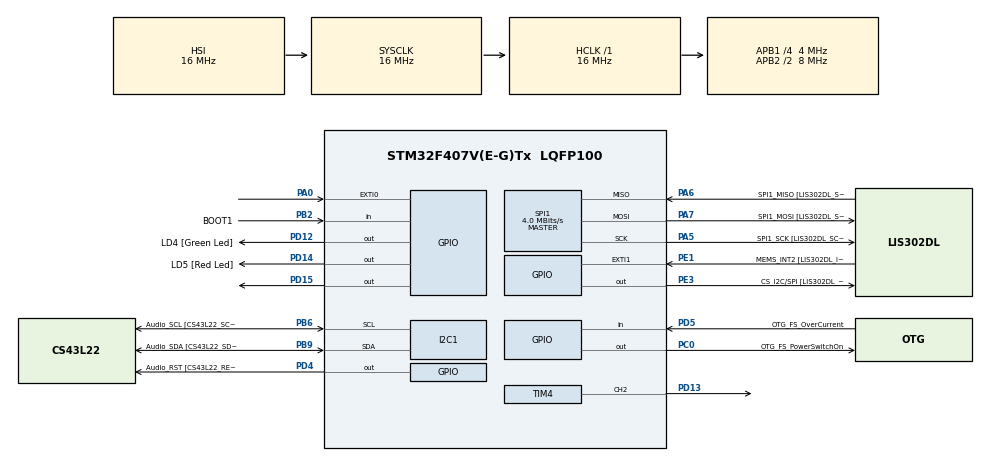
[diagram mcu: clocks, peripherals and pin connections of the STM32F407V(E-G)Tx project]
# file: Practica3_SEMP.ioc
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FREERTOS.Tasks01=defaultTask,29,128,StartDefaultTask,Default,NULL,Dynamic,NULL,NULL
Mcu.Family=STM32F4
Mcu.Name=STM32F407V(E-G)Tx
Mcu.Package=LQFP100
NVIC.EXTI0_IRQn=true\:5\:0\:false\:false\:true\:true\:true\:true\:true
NVIC.PriorityGroup=NVIC_PRIORITYGROUP_4
NVIC.TIM1_BRK_TIM9_IRQn=true\:5\:0\:false\:false\:true\:true\:true\:true\:true
NVIC.TIM1_UP_TIM10_IRQn=true\:15\:0\:false\:false\:true\:false\:false\:true\:true
NVIC.TIM6_DAC_IRQn=true\:5\:0\:false\:false\:true\:true\:true\:true\:true
NVIC.TIM7_IRQn=true\:5\:0\:false\:false\:true\:true\:true\:true\:true
NVIC.TimeBase=TIM1_UP_TIM10_IRQn
NVIC.TimeBaseIP=TIM1
PA0-WKUP.Signal=GPXTI0
PA10.GPIO_Label=OTG_FS_ID
PA10.GPIO_Mode=GPIO_MODE_AF_PP
PA10.GPIO_PuPd=GPIO_NOPULL
PA10.GPIO_Speed=GPIO_SPEED_FREQ_LOW
PA10.Signal=USB_OTG_FS_ID
PA11.GPIO_Label=OTG_FS_DM
PA11.GPIO_Mode=GPIO_MODE_AF_PP
PA11.GPIO_PuPd=GPIO_NOPULL
PA11.GPIO_Speed=GPIO_SPEED_FREQ_LOW
PA11.Signal=USB_OTG_FS_DM
PA12.GPIO_Label=OTG_FS_DP
PA12.GPIO_Mode=GPIO_MODE_AF_PP
PA12.GPIO_PuPd=GPIO_NOPULL
PA12.GPIO_Speed=GPIO_SPEED_FREQ_LOW
PA12.Signal=USB_OTG_FS_DP
PA13.GPIO_Label=SWDIO
PA13.Signal=SYS_JTMS-SWDIO
PA14.GPIO_Label=SWCLK
PA14.Signal=SYS_JTCK-SWCLK
PA4.GPIO_Label=I2S3_WS [CS43L22_LRCK]
PA4.GPIO_Mode=GPIO_MODE_AF_PP
PA4.GPIO_PuPd=GPIO_NOPULL
PA4.GPIO_Speed=GPIO_SPEED_FREQ_LOW
PA4.Signal=I2S3_WS
PA5.GPIO_Label=SPI1_SCK [LIS302DL_SCL/SPC]
PA5.GPIO_Mode=GPIO_MODE_AF_PP
PA5.GPIO_PuPd=GPIO_NOPULL
PA5.GPIO_Speed=GPIO_SPEED_FREQ_LOW
PA5.Mode=Full_Duplex_Master
PA5.Signal=SPI1_SCK
PA6.GPIO_Label=SPI1_MISO [LIS302DL_SDO]
PA6.GPIO_Mode=GPIO_MODE_AF_PP
PA6.GPIO_PuPd=GPIO_NOPULL
PA6.GPIO_Speed=GPIO_SPEED_FREQ_LOW
PA6.Mode=Full_Duplex_Master
PA6.Signal=SPI1_MISO
PA7.GPIO_Label=SPI1_MOSI [LIS302DL_SDA/SDI/SDO]
PA7.GPIO_Mode=GPIO_MODE_AF_PP
PA7.GPIO_PuPd=GPIO_NOPULL
PA7.GPIO_Speed=GPIO_SPEED_FREQ_LOW
PA7.Mode=Full_Duplex_Master
PA7.Signal=SPI1_MOSI
PA9.GPIO_Label=VBUS_FS
PA9.GPIO_Mode=GPIO_MODE_INPUT
PA9.GPIO_PuPd=GPIO_NOPULL
PA9.Signal=USB_OTG_FS_VBUS
PB10.GPIO_Label=CLK_IN [MP45DT02_CLK]
PB10.GPIO_Mode=GPIO_MODE_AF_PP
PB10.GPIO_PuPd=GPIO_NOPULL
PB10.GPIO_Speed=GPIO_SPEED_FREQ_LOW
PB10.Signal=I2S2_CK
PB2.GPIO_Label=BOOT1
PB2.GPIO_Mode=GPIO_MODE_INPUT
PB2.GPIO_PuPd=GPIO_NOPULL
PB2.Signal=GPIO_Input
PB3.GPIO_Label=SWO
PB3.Signal=SYS_JTDO-SWO
PB6.GPIO_Label=Audio_SCL [CS43L22_SCL]
PB6.GPIO_Mode=GPIO_MODE_AF_OD
PB6.GPIO_PuPd=GPIO_NOPULL
PB6.GPIO_Speed=GPIO_SPEED_FREQ_LOW
PB6.Mode=I2C
PB6.Signal=I2C1_SCL
PB9.GPIO_Label=Audio_SDA [CS43L22_SDA]
PB9.GPIO_Mode=GPIO_MODE_AF_OD
PB9.GPIO_PuPd=GPIO_NOPULL
PB9.GPIO_Speed=GPIO_SPEED_FREQ_LOW
PB9.Mode=I2C
PB9.Signal=I2C1_SDA
PC0.GPIO_Label=OTG_FS_PowerSwitchOn
PC0.GPIO_PuPd=GPIO_NOPULL
PC0.GPIO_Speed=GPIO_SPEED_FREQ_LOW
PC0.PinState=GPIO_PIN_SET
PC0.Signal=GPIO_Output
PC10.GPIO_Label=I2S3_SCK [CS43L22_SCLK]
PC10.GPIO_Mode=GPIO_MODE_AF_PP
PC10.GPIO_PuPd=GPIO_NOPULL
PC10.GPIO_Speed=GPIO_SPEED_FREQ_LOW
PC10.Signal=I2S3_CK
PC12.GPIO_Label=I2S3_SD [CS43L22_SDIN]
PC12.GPIO_Mode=GPIO_MODE_AF_PP
PC12.GPIO_PuPd=GPIO_NOPULL
PC12.GPIO_Speed=GPIO_SPEED_FREQ_LOW
PC12.Signal=I2S3_SD
PC14-OSC32_IN.GPIO_Label=PC14-OSC32_IN
PC14-OSC32_IN.Signal=RCC_OSC32_IN
PC15-OSC32_OUT.GPIO_Label=PC15-OSC32_OUT
PC15-OSC32_OUT.Signal=RCC_OSC32_OUT
PC3.GPIO_Label=PDM_OUT [MP45DT02_DOUT]
PC3.GPIO_Mode=GPIO_MODE_AF_PP
PC3.GPIO_PuPd=GPIO_NOPULL
PC3.GPIO_Speed=GPIO_SPEED_FREQ_LOW
PC3.Signal=I2S2_SD
PC7.GPIO_Label=I2S3_MCK [CS43L22_MCLK]
PC7.GPIO_Mode=GPIO_MODE_AF_PP
PC7.GPIO_PuPd=GPIO_NOPULL
PC7.GPIO_Speed=GPIO_SPEED_FREQ_LOW
PC7.Signal=I2S3_MCK
PD12.GPIO_Label=LD4 [Green Led]
PD12.GPIO_PuPd=GPIO_NOPULL
PD12.GPIO_Speed=GPIO_SPEED_FREQ_LOW
PD12.Signal=GPIO_Output
PD13.Signal=S_TIM4_CH2
PD14.GPIO_Label=LD5 [Red Led]
PD14.GPIO_PuPd=GPIO_NOPULL
PD14.GPIO_Speed=GPIO_SPEED_FREQ_LOW
PD14.Signal=GPIO_Output
PD15.Signal=GPIO_Output
PD4.GPIO_Label=Audio_RST [CS43L22_RESET]
PD4.GPIO_PuPd=GPIO_NOPULL
PD4.GPIO_Speed=GPIO_SPEED_FREQ_LOW
PD4.Signal=GPIO_Output
PD5.GPIO_Label=OTG_FS_OverCurrent
PD5.GPIO_Mode=GPIO_MODE_INPUT
PD5.GPIO_PuPd=GPIO_NOPULL
PD5.Signal=GPIO_Input
PE1.GPIO_Label=MEMS_INT2 [LIS302DL_INT2]
PE1.GPIO_ModeDefaultEXTI=GPIO_MODE_EVT_RISING
PE1.GPIO_PuPd=GPIO_NOPULL
PE1.Signal=GPXTI1
PE3.GPIO_Label=CS_I2C/SPI [LIS302DL_CS_I2C/SPI]
PE3.GPIO_PuPd=GPIO_NOPULL
PE3.GPIO_Speed=GPIO_SPEED_FREQ_LOW
PE3.Signal=GPIO_Output
PH0-OSC_IN.GPIO_Label=PH0-OSC_IN
PH0-OSC_IN.Signal=RCC_OSC_IN
PH1-OSC_OUT.GPIO_Label=PH1-OSC_OUT
PH1-OSC_OUT.Signal=RCC_OSC_OUT
ProjectManager.HeapSize=0x200
ProjectManager.StackSize=0x400
ProjectManager.TargetToolchain=STM32CubeIDE
RCC.48MHZClocksFreq_Value=24000000
RCC.AHBFreq_Value=16000000
RCC.APB1CLKDivider=RCC_HCLK_DIV4
RCC.APB1Freq_Value=4000000
RCC.APB1TimFreq_Value=8000000
RCC.APB2CLKDivider=RCC_HCLK_DIV2
RCC.APB2Freq_Value=8000000
RCC.APB2TimFreq_Value=16000000
RCC.CortexFreq_Value=16000000
RCC.HCLKFreq_Value=16000000
RCC.HSE_VALUE=8000000
RCC.HSI_VALUE=16000000
RCC.LSE_VALUE=32768
RCC.PLLM=8
RCC.PLLN=84
RCC.PLLQ=7
RCC.SYSCLKFreq_VALUE=16000000
RCC.VCOOutputFreq_Value=168000000
SH.S_TIM4_CH2.0=TIM4_CH2,PWM Generation2 CH2
SPI1.CalculateBaudRate=4.0 MBits/s
SPI1.Direction=SPI_DIRECTION_2LINES
SPI1.Mode=SPI_MODE_MASTER
SPI1.VirtualType=VM_MASTER
TIM4.Channel-PWM\ Generation2\ CH2=TIM_CHANNEL_2
TIM4.Period=49
TIM4.Prescaler=1
TIM6.Period=999
TIM6.Prescaler=7999
TIM7.Period=4
TIM7.Prescaler=7999
TIM9.Period=499
TIM9.Prescaler=7999
VP_FREERTOS_VS_CMSIS_V2.Mode=CMSIS_V2
VP_SYS_VS_tim1.Mode=TIM1
VP_TIM4_VS_ClockSourceINT.Mode=Internal
VP_TIM6_VS_ClockSourceINT.Mode=Enable_Timer
VP_TIM7_VS_ClockSourceINT.Mode=Enable_Timer
VP_TIM9_VS_ClockSourceINT.Mode=Internal
board=STM32F407G-DISC1

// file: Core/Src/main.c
/* USER CODE BEGIN Header */
/**
  ******************************************************************************
  * @file           : main.c
  * @brief          : Main program body
  ******************************************************************************
  * @attention
  *
  * Copyright (c) 2022 STMicroelectronics.
  * All rights reserved.
  *
  * This software is licensed under terms that can be found in the LICENSE file
  * in the root directory of this software component.
  * If no LICENSE file comes with this software, it is provided AS-IS.
  *
  ******************************************************************************
  */
/* USER CODE END Header */
#include "main.h"
#include "cmsis_os.h"

/* USER CODE BEGIN Includes */
#include "task_fsm.h"
/* USER CODE END Includes */

I2C_HandleTypeDef hi2c1;

SPI_HandleTypeDef hspi1;

TIM_HandleTypeDef htim4;
TIM_HandleTypeDef htim6;
TIM_HandleTypeDef htim7;
TIM_HandleTypeDef htim9;

/* Definitions for defaultTask */
osThreadId_t defaultTaskHandle;
const osThreadAttr_t defaultTask_attributes = {
  .name = "defaultTask",
  .stack_size = 128 * 4,
  .priority = (osPriority_t) osPriorityNormal5,
};
/* USER CODE BEGIN PV */
uint8_t activado, flag_timer_led, flag_timer_boton, flag_timer_muestreo;
uint32_t ciclos_default=0;

task_fsm_boton_encendido_t task_boton ={
		.task_attributes ={
				.name = "task boton",
				.stack_size = 128*4,
				.priority = (osPriority_t)osPriorityNormal3,
		},
		.timer_boton = &htim9,
		.delay = 1,
		.f=NULL,
		.port = GPIOA,
		.pin = GPIO_PIN_0,
		.activado = &activado,
		.flag_timer_boton = &flag_timer_boton
};

task_fsm_muestreo_t task_muestreo ={
		.task_attributes ={
				.name = "task muestreo",
				.stack_size = 128*4,
				.priority = (osPriority_t)osPriorityNormal4,
		},
		.timer_muestreo = &htim7,
		.delay = 1,
		.f=NULL,
		.activado = &activado,
		.flag_timer_muestreo = &flag_timer_muestreo
};

task_fsm_procesamiento_t task_procesamiento ={
		.task_attributes ={
				.name = "task procesamiento",
				.stack_size = 128*4,
				.priority = (osPriority_t)osPriorityNormal1,
		},
		.timer_pwm_salida = &htim4,
		.canal_timer_pwm = TIM_CHANNEL_2,
		.delay = 1,
		.f=NULL,
		.activado = &activado,
};

task_fsm_led_encendido_t task_led ={
		.task_attributes ={
				.name = "task led",
				.stack_size = 128*4,
				.priority = (osPriority_t)osPriorityBelowNormal1,
		},
		.timer_led = &htim6,
		.delay = 1,
		.f=NULL,
		.GPIOx_led = GPIOD,
		.GPIO_Pin_led = GPIO_PIN_15,
		.activado = &activado,
		.flag_timer_led = &flag_timer_led
};
/* USER CODE END PV */

void SystemClock_Config(void);
static void MX_GPIO_Init(void);
static void MX_I2C1_Init(void);
static void MX_SPI1_Init(void);
static void MX_TIM9_Init(void);
static void MX_TIM4_Init(void);
static void MX_TIM6_Init(void);
static void MX_TIM7_Init(void);
void StartDefaultTask(void *argument);

int main(void)
{

  /* MCU Configuration--------------------------------------------------------*/

  /* Reset of all peripherals, Initializes the Flash interface and the Systick. */
  HAL_Init();

  /* USER CODE BEGIN Init */

  KIN1_InitCycleCounter();

  /* USER CODE END Init */

  /* Configure the system clock */
  SystemClock_Config();

  /* Initialize all configured peripherals */
  MX_GPIO_Init();
  MX_I2C1_Init();
  MX_SPI1_Init();
  MX_TIM9_Init();
  MX_TIM4_Init();
  MX_TIM6_Init();
  MX_TIM7_Init();

  /* Init scheduler */
  osKernelInitialize();

  /* Create the thread(s) */
  /* creation of defaultTask */
  defaultTaskHandle = osThreadNew(StartDefaultTask, NULL, &defaultTask_attributes);

  /* USER CODE BEGIN RTOS_THREADS */
  /* add threads, ... */
  task_fsm_boton_encendido_create(&task_boton);
  task_fsm_muestreo_create(&task_muestreo);
  task_fsm_procesamiento_create(&task_procesamiento);
  task_fsm_led_encendido_create(&task_led);
  /* USER CODE END RTOS_THREADS */

  /* Start scheduler */
  osKernelStart();

  /* We should never get here as control is now taken by the scheduler */
  /* Infinite loop */
  while (1)
  {

  }
}

void SystemClock_Config(void)
{
  RCC_OscInitTypeDef RCC_OscInitStruct = {0};
  RCC_ClkInitTypeDef RCC_ClkInitStruct = {0};

  /** Configure the main internal regulator output voltage
  */
  __HAL_RCC_PWR_CLK_ENABLE();
  __HAL_PWR_VOLTAGESCALING_CONFIG(PWR_REGULATOR_VOLTAGE_SCALE1);

  /** Initializes the RCC Oscillators according to the specified parameters
  * in the RCC_OscInitTypeDef structure.
  */
  RCC_OscInitStruct.OscillatorType = RCC_OSCILLATORTYPE_HSI;
  RCC_OscInitStruct.HSIState = RCC_HSI_ON;
  RCC_OscInitStruct.HSICalibrationValue = RCC_HSICALIBRATION_DEFAULT;
  RCC_OscInitStruct.PLL.PLLState = RCC_PLL_NONE;
  if (HAL_RCC_OscConfig(&RCC_OscInitStruct) != HAL_OK)
  {
    Error_Handler();
  }

  /** Initializes the CPU, AHB and APB buses clocks
  */
  RCC_ClkInitStruct.ClockType = RCC_CLOCKTYPE_HCLK|RCC_CLOCKTYPE_SYSCLK
                              |RCC_CLOCKTYPE_PCLK1|RCC_CLOCKTYPE_PCLK2;
  RCC_ClkInitStruct.SYSCLKSource = RCC_SYSCLKSOURCE_HSI;
  RCC_ClkInitStruct.AHBCLKDivider = RCC_SYSCLK_DIV1;
  RCC_ClkInitStruct.APB1CLKDivider = RCC_HCLK_DIV4;
  RCC_ClkInitStruct.APB2CLKDivider = RCC_HCLK_DIV2;

  if (HAL_RCC_ClockConfig(&RCC_ClkInitStruct, FLASH_LATENCY_0) != HAL_OK)
  {
    Error_Handler();
  }
}

static void MX_I2C1_Init(void)
{

  hi2c1.Instance = I2C1;
  hi2c1.Init.ClockSpeed = 100000;
  hi2c1.Init.DutyCycle = I2C_DUTYCYCLE_2;
  hi2c1.Init.OwnAddress1 = 0;
  hi2c1.Init.AddressingMode = I2C_ADDRESSINGMODE_7BIT;
  hi2c1.Init.DualAddressMode = I2C_DUALADDRESS_DISABLE;
  hi2c1.Init.OwnAddress2 = 0;
  hi2c1.Init.GeneralCallMode = I2C_GENERALCALL_DISABLE;
  hi2c1.Init.NoStretchMode = I2C_NOSTRETCH_DISABLE;
  if (HAL_I2C_Init(&hi2c1) != HAL_OK)
  {
    Error_Handler();
  }

}

static void MX_SPI1_Init(void)
{

  /* SPI1 parameter configuration*/
  hspi1.Instance = SPI1;
  hspi1.Init.Mode = SPI_MODE_MASTER;
  hspi1.Init.Direction = SPI_DIRECTION_2LINES;
  hspi1.Init.DataSize = SPI_DATASIZE_8BIT;
  hspi1.Init.CLKPolarity = SPI_POLARITY_LOW;
  hspi1.Init.CLKPhase = SPI_PHASE_1EDGE;
  hspi1.Init.NSS = SPI_NSS_SOFT;
  hspi1.Init.BaudRatePrescaler = SPI_BAUDRATEPRESCALER_2;
  hspi1.Init.FirstBit = SPI_FIRSTBIT_MSB;
  hspi1.Init.TIMode = SPI_TIMODE_DISABLE;
  hspi1.Init.CRCCalculation = SPI_CRCCALCULATION_DISABLE;
  hspi1.Init.CRCPolynomial = 10;
  if (HAL_SPI_Init(&hspi1) != HAL_OK)
  {
    Error_Handler();
  }

}

static void MX_TIM4_Init(void)
{

  TIM_ClockConfigTypeDef sClockSourceConfig = {0};
  TIM_MasterConfigTypeDef sMasterConfig = {0};
  TIM_OC_InitTypeDef sConfigOC = {0};

  htim4.Instance = TIM4;
  htim4.Init.Prescaler = 1;
  htim4.Init.CounterMode = TIM_COUNTERMODE_UP;
  htim4.Init.Period = 49;
  htim4.Init.ClockDivision = TIM_CLOCKDIVISION_DIV1;
  htim4.Init.AutoReloadPreload = TIM_AUTORELOAD_PRELOAD_DISABLE;
  if (HAL_TIM_Base_Init(&htim4) != HAL_OK)
  {
    Error_Handler();
  }
  sClockSourceConfig.ClockSource = TIM_CLOCKSOURCE_INTERNAL;
  if (HAL_TIM_ConfigClockSource(&htim4, &sClockSourceConfig) != HAL_OK)
  {
    Error_Handler();
  }
  if (HAL_TIM_PWM_Init(&htim4) != HAL_OK)
  {
    Error_Handler();
  }
  sMasterConfig.MasterOutputTrigger = TIM_TRGO_RESET;
  sMasterConfig.MasterSlaveMode = TIM_MASTERSLAVEMODE_DISABLE;
  if (HAL_TIMEx_MasterConfigSynchronization(&htim4, &sMasterConfig) != HAL_OK)
  {
    Error_Handler();
  }
  sConfigOC.OCMode = TIM_OCMODE_PWM1;
  sConfigOC.Pulse = 0;
  sConfigOC.OCPolarity = TIM_OCPOLARITY_HIGH;
  sConfigOC.OCFastMode = TIM_OCFAST_DISABLE;
  if (HAL_TIM_PWM_ConfigChannel(&htim4, &sConfigOC, TIM_CHANNEL_2) != HAL_OK)
  {
    Error_Handler();
  }
  HAL_TIM_MspPostInit(&htim4);

}

static void MX_TIM6_Init(void)
{

  TIM_MasterConfigTypeDef sMasterConfig = {0};

  htim6.Instance = TIM6;
  htim6.Init.Prescaler = 7999;
  htim6.Init.CounterMode = TIM_COUNTERMODE_UP;
  htim6.Init.Period = 999;
  htim6.Init.AutoReloadPreload = TIM_AUTORELOAD_PRELOAD_DISABLE;
  if (HAL_TIM_Base_Init(&htim6) != HAL_OK)
  {
    Error_Handler();
  }
  sMasterConfig.MasterOutputTrigger = TIM_TRGO_RESET;
  sMasterConfig.MasterSlaveMode = TIM_MASTERSLAVEMODE_DISABLE;
  if (HAL_TIMEx_MasterConfigSynchronization(&htim6, &sMasterConfig) != HAL_OK)
  {
    Error_Handler();
  }

}

static void MX_TIM7_Init(void)
{

  TIM_MasterConfigTypeDef sMasterConfig = {0};

  htim7.Instance = TIM7;
  htim7.Init.Prescaler = 7999;
  htim7.Init.CounterMode = TIM_COUNTERMODE_UP;
  htim7.Init.Period = 4;
  htim7.Init.AutoReloadPreload = TIM_AUTORELOAD_PRELOAD_DISABLE;
  if (HAL_TIM_Base_Init(&htim7) != HAL_OK)
  {
    Error_Handler();
  }
  sMasterConfig.MasterOutputTrigger = TIM_TRGO_RESET;
  sMasterConfig.MasterSlaveMode = TIM_MASTERSLAVEMODE_DISABLE;
  if (HAL_TIMEx_MasterConfigSynchronization(&htim7, &sMasterConfig) != HAL_OK)
  {
    Error_Handler();
  }

}

static void MX_TIM9_Init(void)
{

  TIM_ClockConfigTypeDef sClockSourceConfig = {0};

  htim9.Instance = TIM9;
  htim9.Init.Prescaler = 7999;
  htim9.Init.CounterMode = TIM_COUNTERMODE_UP;
  htim9.Init.Period = 499;
  htim9.Init.ClockDivision = TIM_CLOCKDIVISION_DIV1;
  htim9.Init.AutoReloadPreload = TIM_AUTORELOAD_PRELOAD_DISABLE;
  if (HAL_TIM_Base_Init(&htim9) != HAL_OK)
  {
    Error_Handler();
  }
  sClockSourceConfig.ClockSource = TIM_CLOCKSOURCE_INTERNAL;
  if (HAL_TIM_ConfigClockSource(&htim9, &sClockSourceConfig) != HAL_OK)
  {
    Error_Handler();
  }

}

static void MX_GPIO_Init(void)
{
  GPIO_InitTypeDef GPIO_InitStruct = {0};

  /* GPIO Ports Clock Enable */
  __HAL_RCC_GPIOE_CLK_ENABLE();
  __HAL_RCC_GPIOC_CLK_ENABLE();
  __HAL_RCC_GPIOH_CLK_ENABLE();
  __HAL_RCC_GPIOA_CLK_ENABLE();
  __HAL_RCC_GPIOB_CLK_ENABLE();
  __HAL_RCC_GPIOD_CLK_ENABLE();

  /*Configure GPIO pin Output Level */
  HAL_GPIO_WritePin(CS_I2C_SPI_GPIO_Port, CS_I2C_SPI_Pin, GPIO_PIN_RESET);

  /*Configure GPIO pin Output Level */
  HAL_GPIO_WritePin(OTG_FS_PowerSwitchOn_GPIO_Port, OTG_FS_PowerSwitchOn_Pin, GPIO_PIN_SET);

  /*Configure GPIO pin Output Level */
  HAL_GPIO_WritePin(GPIOD, LD4_Pin|LD5_Pin|GPIO_PIN_15|Audio_RST_Pin, GPIO_PIN_RESET);

  /*Configure GPIO pin : CS_I2C_SPI_Pin */
  GPIO_InitStruct.Pin = CS_I2C_SPI_Pin;
  GPIO_InitStruct.Mode = GPIO_MODE_OUTPUT_PP;
  GPIO_InitStruct.Pull = GPIO_NOPULL;
  GPIO_InitStruct.Speed = GPIO_SPEED_FREQ_LOW;
  HAL_GPIO_Init(CS_I2C_SPI_GPIO_Port, &GPIO_InitStruct);

  /*Configure GPIO pin : OTG_FS_PowerSwitchOn_Pin */
  GPIO_InitStruct.Pin = OTG_FS_PowerSwitchOn_Pin;
  GPIO_InitStruct.Mode = GPIO_MODE_OUTPUT_PP;
  GPIO_InitStruct.Pull = GPIO_NOPULL;
  GPIO_InitStruct.Speed = GPIO_SPEED_FREQ_LOW;
  HAL_GPIO_Init(OTG_FS_PowerSwitchOn_GPIO_Port, &GPIO_InitStruct);

  /*Configure GPIO pin : PDM_OUT_Pin */
  GPIO_InitStruct.Pin = PDM_OUT_Pin;
  GPIO_InitStruct.Mode = GPIO_MODE_AF_PP;
  GPIO_InitStruct.Pull = GPIO_NOPULL;
  GPIO_InitStruct.Speed = GPIO_SPEED_FREQ_LOW;
  GPIO_InitStruct.Alternate = GPIO_AF5_SPI2;
  HAL_GPIO_Init(PDM_OUT_GPIO_Port, &GPIO_InitStruct);

  /*Configure GPIO pin : PA0 */
  GPIO_InitStruct.Pin = GPIO_PIN_0;
  GPIO_InitStruct.Mode = GPIO_MODE_IT_RISING;
  GPIO_InitStruct.Pull = GPIO_NOPULL;
  HAL_GPIO_Init(GPIOA, &GPIO_InitStruct);

  /*Configure GPIO pin : I2S3_WS_Pin */
  GPIO_InitStruct.Pin = I2S3_WS_Pin;
  GPIO_InitStruct.Mode = GPIO_MODE_AF_PP;
  GPIO_InitStruct.Pull = GPIO_NOPULL;
  GPIO_InitStruct.Speed = GPIO_SPEED_FREQ_LOW;
  GPIO_InitStruct.Alternate = GPIO_AF6_SPI3;
  HAL_GPIO_Init(I2S3_WS_GPIO_Port, &GPIO_InitStruct);

  /*Configure GPIO pin : BOOT1_Pin */
  GPIO_InitStruct.Pin = BOOT1_Pin;
  GPIO_InitStruct.Mode = GPIO_MODE_INPUT;
  GPIO_InitStruct.Pull = GPIO_NOPULL;
  HAL_GPIO_Init(BOOT1_GPIO_Port, &GPIO_InitStruct);

  /*Configure GPIO pin : CLK_IN_Pin */
  GPIO_InitStruct.Pin = CLK_IN_Pin;
  GPIO_InitStruct.Mode = GPIO_MODE_AF_PP;
  GPIO_InitStruct.Pull = GPIO_NOPULL;
  GPIO_InitStruct.Speed = GPIO_SPEED_FREQ_LOW;
  GPIO_InitStruct.Alternate = GPIO_AF5_SPI2;
  HAL_GPIO_Init(CLK_IN_GPIO_Port, &GPIO_InitStruct);

  /*Configure GPIO pins : LD4_Pin LD5_Pin PD15 Audio_RST_Pin */
  GPIO_InitStruct.Pin = LD4_Pin|LD5_Pin|GPIO_PIN_15|Audio_RST_Pin;
  GPIO_InitStruct.Mode = GPIO_MODE_OUTPUT_PP;
  GPIO_InitStruct.Pull = GPIO_NOPULL;
  GPIO_InitStruct.Speed = GPIO_SPEED_FREQ_LOW;
  HAL_GPIO_Init(GPIOD, &GPIO_InitStruct);

  /*Configure GPIO pins : I2S3_MCK_Pin I2S3_SCK_Pin I2S3_SD_Pin */
  GPIO_InitStruct.Pin = I2S3_MCK_Pin|I2S3_SCK_Pin|I2S3_SD_Pin;
  GPIO_InitStruct.Mode = GPIO_MODE_AF_PP;
  GPIO_InitStruct.Pull = GPIO_NOPULL;
  GPIO_InitStruct.Speed = GPIO_SPEED_FREQ_LOW;
  GPIO_InitStruct.Alternate = GPIO_AF6_SPI3;
  HAL_GPIO_Init(GPIOC, &GPIO_InitStruct);

  /*Configure GPIO pin : VBUS_FS_Pin */
  GPIO_InitStruct.Pin = VBUS_FS_Pin;
  GPIO_InitStruct.Mode = GPIO_MODE_INPUT;
  GPIO_InitStruct.Pull = GPIO_NOPULL;
  HAL_GPIO_Init(VBUS_FS_GPIO_Port, &GPIO_InitStruct);

  /*Configure GPIO pins : OTG_FS_ID_Pin OTG_FS_DM_Pin OTG_FS_DP_Pin */
  GPIO_InitStruct.Pin = OTG_FS_ID_Pin|OTG_FS_DM_Pin|OTG_FS_DP_Pin;
  GPIO_InitStruct.Mode = GPIO_MODE_AF_PP;
  GPIO_InitStruct.Pull = GPIO_NOPULL;
  GPIO_InitStruct.Speed = GPIO_SPEED_FREQ_LOW;
  GPIO_InitStruct.Alternate = GPIO_AF10_OTG_FS;
  HAL_GPIO_Init(GPIOA, &GPIO_InitStruct);

  /*Configure GPIO pin : OTG_FS_OverCurrent_Pin */
  GPIO_InitStruct.Pin = OTG_FS_OverCurrent_Pin;
  GPIO_InitStruct.Mode = GPIO_MODE_INPUT;
  GPIO_InitStruct.Pull = GPIO_NOPULL;
  HAL_GPIO_Init(OTG_FS_OverCurrent_GPIO_Port, &GPIO_InitStruct);

  /*Configure GPIO pin : MEMS_INT2_Pin */
  GPIO_InitStruct.Pin = MEMS_INT2_Pin;
  GPIO_InitStruct.Mode = GPIO_MODE_EVT_RISING;
  GPIO_InitStruct.Pull = GPIO_NOPULL;
  HAL_GPIO_Init(MEMS_INT2_GPIO_Port, &GPIO_InitStruct);

  /* EXTI interrupt init*/
  HAL_NVIC_SetPriority(EXTI0_IRQn, 5, 0);
  HAL_NVIC_EnableIRQ(EXTI0_IRQn);

}

/* USER CODE BEGIN 4 */
void osSuspend(void)
{
	vPortEnterCritical();
	vTaskSuspendAll();
	SysTick->CTRL&=~SysTick_CTRL_ENABLE_Msk; //Disable systick
	SCB->ICSR|=SCB_ICSR_PENDSVCLR_Msk|SCB_ICSR_PENDSTCLR_Msk; //Clear any pending
	vPortExitCritical();
}
void osResume(void)
{
	vPortEnterCritical();
	SysTick->VAL=0; //Reload systick
	SysTick->CTRL|=SysTick_CTRL_ENABLE_Msk; //EnableSysTick
	xTaskResumeAll();
	vPortExitCritical();
}
/* USER CODE END 4 */

void StartDefaultTask(void *argument)
{
  /* USER CODE BEGIN 5 */
  /* Infinite loop */
  for(;;)
  {
    osDelay(1);
    KIN1_ResetCycleCounter();
    KIN1_EnableCycleCounter();
    //Detención del micro si el sistema entero está en STOP
    if((((task_muestreo.f)->f).current_state==0)&&(((task_led.f)->f).current_state==0)&&(((task_procesamiento.f)->f).current_state==0)&&(((task_boton.f)->f).current_state==0))
    {
    	osSuspend();
    	HAL_SuspendTick();
    	HAL_PWR_EnterSTOPMode(PWR_LOWPOWERREGULATOR_ON, PWR_STOPENTRY_WFI);
    	osResume();
    	HAL_ResumeTick();
    }
    ciclos_default = KIN1_GetCycleCounter();
    KIN1_DisableCycleCounter();
  }
  /* USER CODE END 5 */
}

void HAL_TIM_PeriodElapsedCallback(TIM_HandleTypeDef *htim)
{
  if (htim->Instance == TIM1) {
    HAL_IncTick();
  }
  /* USER CODE BEGIN Callback 1 */
	if(htim->Instance == TIM6)
		flag_timer_led = 1;
	if(htim->Instance == TIM7)
		flag_timer_muestreo = 1;
	if(htim->Instance == TIM9)
		flag_timer_boton = 1;

  /* USER CODE END Callback 1 */
}

void Error_Handler(void)
{
  __disable_irq();
  while (1)
  {
  }
}
